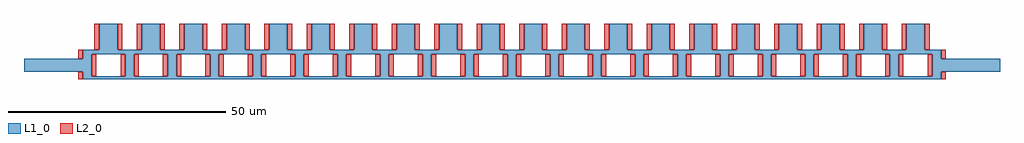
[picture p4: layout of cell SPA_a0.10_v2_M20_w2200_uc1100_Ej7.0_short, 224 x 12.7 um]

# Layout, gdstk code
import gdstk
lib = gdstk.Library(unit=1e-6, precision=1e-09)
def R(c, l, rs):  # rectangles x0, y0, x1, y1
    for r in rs: c.add(gdstk.rectangle(r[:2], r[2:], *l))
def A(c, l, x, y, w, h, nx, ny, dx, dy):  # array of equal rectangles
    R(c, l, [(x+i*dx, y+j*dy, x+i*dx+w, y+j*dy+h) for i in range(nx) for j in range(ny)])
def P(c, l, *ps):  # polygons
    for p in ps: c.add(gdstk.Polygon(p, *l))
L1_0 = (1, 0)
L2_0 = (2, 0)

spa_a0_10_v2_m20_w2200_u = lib.new_cell('SPA_a0.10_v2_M20_w2200_uc1100_Ej7.0_short')
A(spa_a0_10_v2_m20_w2200_u, L1_0, -93.725, 2.5, 2.2, 7, 20, 1, 9.75, 0)
R(spa_a0_10_v2_m20_w2200_u, L1_0, [(-112,-1.5,-98.5,1.5), (98.5,-1.5,112,1.5)])
P(spa_a0_10_v2_m20_w2200_u, L1_0, [(-98.5,-3.2),(-98.5,3.5),(-94.725,3.5),(-94.725,9.5),(-93.725,9.5),(-93.725,2.5),(-96.5,2.5),(-96.5,-2.5),(-92.625,-2.5),(-92.625,-3.2),(-93.625,-3.2),(-93.625,-3.2)],
  [(-87.75,-3.2),(-87.75,3.5),(-90.525,3.5),(-90.525,9.5),(-91.525,9.5),(-91.525,2.5),(-88.75,2.5),(-88.75,-2.5),(-92.625,-2.5),(-92.625,-3.2),(-91.625,-3.2),(-91.625,-3.2)],
  [(-87.75,-3.2),(-87.75,3.5),(-84.975,3.5),(-84.975,9.5),(-83.975,9.5),(-83.975,2.5),(-86.75,2.5),(-86.75,-2.5),(-82.875,-2.5),(-82.875,-3.2),(-83.875,-3.2),(-83.875,-3.2)],
  [(-78,-3.2),(-78,3.5),(-80.775,3.5),(-80.775,9.5),(-81.775,9.5),(-81.775,2.5),(-79,2.5),(-79,-2.5),(-82.875,-2.5),(-82.875,-3.2),(-81.875,-3.2),(-81.875,-3.2)],
  [(-78,-3.2),(-78,3.5),(-75.225,3.5),(-75.225,9.5),(-74.225,9.5),(-74.225,2.5),(-77,2.5),(-77,-2.5),(-73.125,-2.5),(-73.125,-3.2),(-74.125,-3.2),(-74.125,-3.2)],
  [(-68.25,-3.2),(-68.25,3.5),(-71.025,3.5),(-71.025,9.5),(-72.025,9.5),(-72.025,2.5),(-69.25,2.5),(-69.25,-2.5),(-73.125,-2.5),(-73.125,-3.2),(-72.125,-3.2),(-72.125,-3.2)],
  [(-68.25,-3.2),(-68.25,3.5),(-65.475,3.5),(-65.475,9.5),(-64.475,9.5),(-64.475,2.5),(-67.25,2.5),(-67.25,-2.5),(-63.375,-2.5),(-63.375,-3.2),(-64.375,-3.2),(-64.375,-3.2)],
  [(-58.5,-3.2),(-58.5,3.5),(-61.275,3.5),(-61.275,9.5),(-62.275,9.5),(-62.275,2.5),(-59.5,2.5),(-59.5,-2.5),(-63.375,-2.5),(-63.375,-3.2),(-62.375,-3.2),(-62.375,-3.2)],
  [(-58.5,-3.2),(-58.5,3.5),(-55.725,3.5),(-55.725,9.5),(-54.725,9.5),(-54.725,2.5),(-57.5,2.5),(-57.5,-2.5),(-53.625,-2.5),(-53.625,-3.2),(-54.625,-3.2),(-54.625,-3.2)],
  [(-48.75,-3.2),(-48.75,3.5),(-51.525,3.5),(-51.525,9.5),(-52.525,9.5),(-52.525,2.5),(-49.75,2.5),(-49.75,-2.5),(-53.625,-2.5),(-53.625,-3.2),(-52.625,-3.2),(-52.625,-3.2)],
  [(-48.75,-3.2),(-48.75,3.5),(-45.975,3.5),(-45.975,9.5),(-44.975,9.5),(-44.975,2.5),(-47.75,2.5),(-47.75,-2.5),(-43.875,-2.5),(-43.875,-3.2),(-44.875,-3.2),(-44.875,-3.2)],
  [(-39,-3.2),(-39,3.5),(-41.775,3.5),(-41.775,9.5),(-42.775,9.5),(-42.775,2.5),(-40,2.5),(-40,-2.5),(-43.875,-2.5),(-43.875,-3.2),(-42.875,-3.2),(-42.875,-3.2)],
  [(-39,-3.2),(-39,3.5),(-36.225,3.5),(-36.225,9.5),(-35.225,9.5),(-35.225,2.5),(-38,2.5),(-38,-2.5),(-34.125,-2.5),(-34.125,-3.2),(-35.125,-3.2),(-35.125,-3.2)],
  [(-29.25,-3.2),(-29.25,3.5),(-32.025,3.5),(-32.025,9.5),(-33.025,9.5),(-33.025,2.5),(-30.25,2.5),(-30.25,-2.5),(-34.125,-2.5),(-34.125,-3.2),(-33.125,-3.2),(-33.125,-3.2)],
  [(-29.25,-3.2),(-29.25,3.5),(-26.475,3.5),(-26.475,9.5),(-25.475,9.5),(-25.475,2.5),(-28.25,2.5),(-28.25,-2.5),(-24.375,-2.5),(-24.375,-3.2),(-25.375,-3.2),(-25.375,-3.2)],
  [(-19.5,-3.2),(-19.5,3.5),(-22.275,3.5),(-22.275,9.5),(-23.275,9.5),(-23.275,2.5),(-20.5,2.5),(-20.5,-2.5),(-24.375,-2.5),(-24.375,-3.2),(-23.375,-3.2),(-23.375,-3.2)],
  [(-19.5,-3.2),(-19.5,3.5),(-16.725,3.5),(-16.725,9.5),(-15.725,9.5),(-15.725,2.5),(-18.5,2.5),(-18.5,-2.5),(-14.625,-2.5),(-14.625,-3.2),(-15.625,-3.2),(-15.625,-3.2)],
  [(-9.75,-3.2),(-9.75,3.5),(-12.525,3.5),(-12.525,9.5),(-13.525,9.5),(-13.525,2.5),(-10.75,2.5),(-10.75,-2.5),(-14.625,-2.5),(-14.625,-3.2),(-13.625,-3.2),(-13.625,-3.2)],
  [(-9.75,-3.2),(-9.75,3.5),(-6.975,3.5),(-6.975,9.5),(-5.975,9.5),(-5.975,2.5),(-8.75,2.5),(-8.75,-2.5),(-4.875,-2.5),(-4.875,-3.2),(-5.875,-3.2),(-5.875,-3.2)],
  [(0,-3.2),(0,3.5),(-2.775,3.5),(-2.775,9.5),(-3.775,9.5),(-3.775,2.5),(-1,2.5),(-1,-2.5),(-4.875,-2.5),(-4.875,-3.2),(-3.875,-3.2),(-3.875,-3.2)],
  [(0,-3.2),(0,3.5),(2.775,3.5),(2.775,9.5),(3.775,9.5),(3.775,2.5),(1,2.5),(1,-2.5),(4.875,-2.5),(4.875,-3.2),(3.875,-3.2),(3.875,-3.2)],
  [(9.75,-3.2),(9.75,3.5),(6.975,3.5),(6.975,9.5),(5.975,9.5),(5.975,2.5),(8.75,2.5),(8.75,-2.5),(4.875,-2.5),(4.875,-3.2),(5.875,-3.2),(5.875,-3.2)],
  [(9.75,-3.2),(9.75,3.5),(12.525,3.5),(12.525,9.5),(13.525,9.5),(13.525,2.5),(10.75,2.5),(10.75,-2.5),(14.625,-2.5),(14.625,-3.2),(13.625,-3.2),(13.625,-3.2)],
  [(19.5,-3.2),(19.5,3.5),(16.725,3.5),(16.725,9.5),(15.725,9.5),(15.725,2.5),(18.5,2.5),(18.5,-2.5),(14.625,-2.5),(14.625,-3.2),(15.625,-3.2),(15.625,-3.2)],
  [(19.5,-3.2),(19.5,3.5),(22.275,3.5),(22.275,9.5),(23.275,9.5),(23.275,2.5),(20.5,2.5),(20.5,-2.5),(24.375,-2.5),(24.375,-3.2),(23.375,-3.2),(23.375,-3.2)],
  [(29.25,-3.2),(29.25,3.5),(26.475,3.5),(26.475,9.5),(25.475,9.5),(25.475,2.5),(28.25,2.5),(28.25,-2.5),(24.375,-2.5),(24.375,-3.2),(25.375,-3.2),(25.375,-3.2)],
  [(29.25,-3.2),(29.25,3.5),(32.025,3.5),(32.025,9.5),(33.025,9.5),(33.025,2.5),(30.25,2.5),(30.25,-2.5),(34.125,-2.5),(34.125,-3.2),(33.125,-3.2),(33.125,-3.2)],
  [(39,-3.2),(39,3.5),(36.225,3.5),(36.225,9.5),(35.225,9.5),(35.225,2.5),(38,2.5),(38,-2.5),(34.125,-2.5),(34.125,-3.2),(35.125,-3.2),(35.125,-3.2)],
  [(39,-3.2),(39,3.5),(41.775,3.5),(41.775,9.5),(42.775,9.5),(42.775,2.5),(40,2.5),(40,-2.5),(43.875,-2.5),(43.875,-3.2),(42.875,-3.2),(42.875,-3.2)],
  [(48.75,-3.2),(48.75,3.5),(45.975,3.5),(45.975,9.5),(44.975,9.5),(44.975,2.5),(47.75,2.5),(47.75,-2.5),(43.875,-2.5),(43.875,-3.2),(44.875,-3.2),(44.875,-3.2)],
  [(48.75,-3.2),(48.75,3.5),(51.525,3.5),(51.525,9.5),(52.525,9.5),(52.525,2.5),(49.75,2.5),(49.75,-2.5),(53.625,-2.5),(53.625,-3.2),(52.625,-3.2),(52.625,-3.2)],
  [(58.5,-3.2),(58.5,3.5),(55.725,3.5),(55.725,9.5),(54.725,9.5),(54.725,2.5),(57.5,2.5),(57.5,-2.5),(53.625,-2.5),(53.625,-3.2),(54.625,-3.2),(54.625,-3.2)],
  [(58.5,-3.2),(58.5,3.5),(61.275,3.5),(61.275,9.5),(62.275,9.5),(62.275,2.5),(59.5,2.5),(59.5,-2.5),(63.375,-2.5),(63.375,-3.2),(62.375,-3.2),(62.375,-3.2)],
  [(68.25,-3.2),(68.25,3.5),(65.475,3.5),(65.475,9.5),(64.475,9.5),(64.475,2.5),(67.25,2.5),(67.25,-2.5),(63.375,-2.5),(63.375,-3.2),(64.375,-3.2),(64.375,-3.2)],
  [(68.25,-3.2),(68.25,3.5),(71.025,3.5),(71.025,9.5),(72.025,9.5),(72.025,2.5),(69.25,2.5),(69.25,-2.5),(73.125,-2.5),(73.125,-3.2),(72.125,-3.2),(72.125,-3.2)],
  [(78,-3.2),(78,3.5),(75.225,3.5),(75.225,9.5),(74.225,9.5),(74.225,2.5),(77,2.5),(77,-2.5),(73.125,-2.5),(73.125,-3.2),(74.125,-3.2),(74.125,-3.2)],
  [(78,-3.2),(78,3.5),(80.775,3.5),(80.775,9.5),(81.775,9.5),(81.775,2.5),(79,2.5),(79,-2.5),(82.875,-2.5),(82.875,-3.2),(81.875,-3.2),(81.875,-3.2)],
  [(87.75,-3.2),(87.75,3.5),(84.975,3.5),(84.975,9.5),(83.975,9.5),(83.975,2.5),(86.75,2.5),(86.75,-2.5),(82.875,-2.5),(82.875,-3.2),(83.875,-3.2),(83.875,-3.2)],
  [(87.75,-3.2),(87.75,3.5),(90.525,3.5),(90.525,9.5),(91.525,9.5),(91.525,2.5),(88.75,2.5),(88.75,-2.5),(92.625,-2.5),(92.625,-3.2),(91.625,-3.2),(91.625,-3.2)],
  [(98.5,-3.2),(98.5,3.5),(94.725,3.5),(94.725,9.5),(93.725,9.5),(93.725,2.5),(96.5,2.5),(96.5,-2.5),(92.625,-2.5),(92.625,-3.2),(93.625,-3.2),(93.625,-3.2)])
R(spa_a0_10_v2_m20_w2200_u, L2_0, [(-99.6,-3.2,-98.5,-1.5), (98.5,-3.2,99.6,-1.5), (-96.5,-2.5,-95.4,2.5), (-89.85,-2.5,-88.75,2.5), (-86.75,-2.5,-85.65,2.5), (-80.1,-2.5,-79,2.5), (-77,-2.5,-75.9,2.5), (-70.35,-2.5,-69.25,2.5), (-67.25,-2.5,-66.15,2.5), (-60.6,-2.5,-59.5,2.5), (-57.5,-2.5,-56.4,2.5), (-50.85,-2.5,-49.75,2.5), (-47.75,-2.5,-46.65,2.5), (-41.1,-2.5,-40,2.5), (-38,-2.5,-36.9,2.5), (-31.35,-2.5,-30.25,2.5), (-28.25,-2.5,-27.15,2.5), (-21.6,-2.5,-20.5,2.5), (-18.5,-2.5,-17.4,2.5), (-11.85,-2.5,-10.75,2.5), (-8.75,-2.5,-7.65,2.5), (-2.1,-2.5,-1,2.5), (1,-2.5,2.1,2.5), (7.65,-2.5,8.75,2.5), (10.75,-2.5,11.85,2.5), (17.4,-2.5,18.5,2.5), (20.5,-2.5,21.6,2.5), (27.15,-2.5,28.25,2.5), (30.25,-2.5,31.35,2.5), (36.9,-2.5,38,2.5), (40,-2.5,41.1,2.5), (46.65,-2.5,47.75,2.5), (49.75,-2.5,50.85,2.5), (56.4,-2.5,57.5,2.5), (59.5,-2.5,60.6,2.5), (66.15,-2.5,67.25,2.5), (69.25,-2.5,70.35,2.5), (75.9,-2.5,77,2.5), (79,-2.5,80.1,2.5), (85.65,-2.5,86.75,2.5), (88.75,-2.5,89.85,2.5), (95.4,-2.5,96.5,2.5), (-99.6,1.5,-98.5,3.5), (98.5,1.5,99.6,3.5), (-95.825,3.5,-94.725,9.5), (-90.525,3.5,-89.425,9.5), (-86.075,3.5,-84.975,9.5), (-80.775,3.5,-79.675,9.5), (-76.325,3.5,-75.225,9.5), (-71.025,3.5,-69.925,9.5), (-66.575,3.5,-65.475,9.5), (-61.275,3.5,-60.175,9.5), (-56.825,3.5,-55.725,9.5), (-51.525,3.5,-50.425,9.5), (-47.075,3.5,-45.975,9.5), (-41.775,3.5,-40.675,9.5), (-37.325,3.5,-36.225,9.5), (-32.025,3.5,-30.925,9.5), (-27.575,3.5,-26.475,9.5), (-22.275,3.5,-21.175,9.5), (-17.825,3.5,-16.725,9.5), (-12.525,3.5,-11.425,9.5), (-8.075,3.5,-6.975,9.5), (-2.775,3.5,-1.675,9.5), (1.675,3.5,2.775,9.5), (6.975,3.5,8.075,9.5), (11.425,3.5,12.525,9.5), (16.725,3.5,17.825,9.5), (21.175,3.5,22.275,9.5), (26.475,3.5,27.575,9.5), (30.925,3.5,32.025,9.5), (36.225,3.5,37.325,9.5), (40.675,3.5,41.775,9.5), (45.975,3.5,47.075,9.5), (50.425,3.5,51.525,9.5), (55.725,3.5,56.825,9.5), (60.175,3.5,61.275,9.5), (65.475,3.5,66.575,9.5), (69.925,3.5,71.025,9.5), (75.225,3.5,76.325,9.5), (79.675,3.5,80.775,9.5), (84.975,3.5,86.075,9.5), (89.425,3.5,90.525,9.5), (94.725,3.5,95.825,9.5)])

lib.write_gds('SPA_a0.10_v2_M20_w2200_uc1100_Ej7.0_short.gds')
